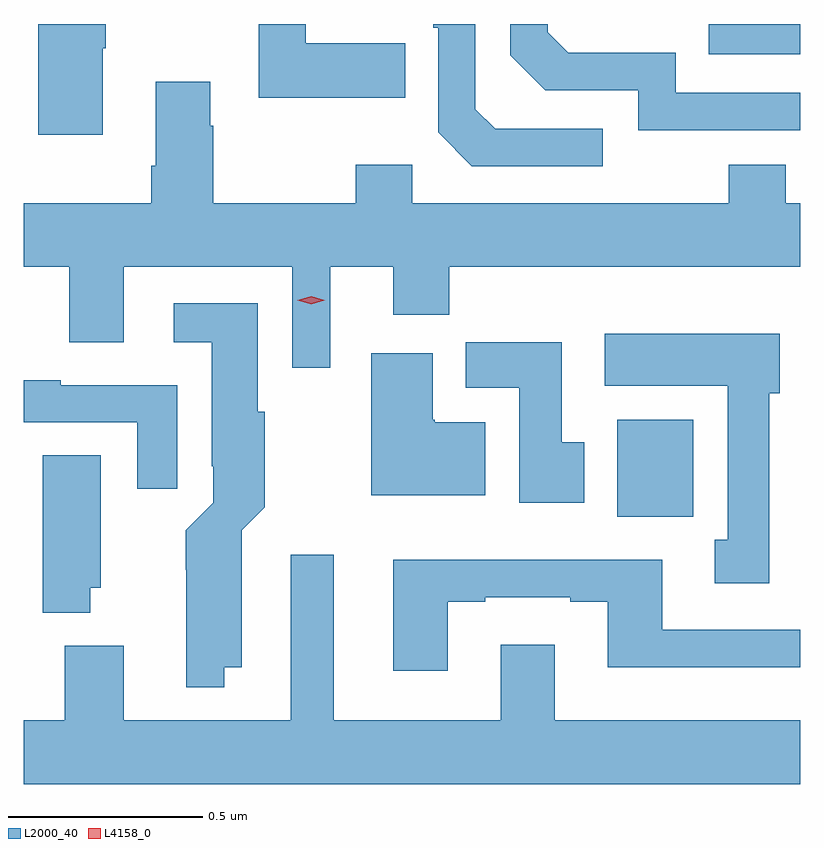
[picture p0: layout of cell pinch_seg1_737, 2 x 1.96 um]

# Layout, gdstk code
import gdstk
lib = gdstk.Library(unit=1e-6, precision=1e-09)
def R(c, l, rs):  # rectangles x0, y0, x1, y1
    for r in rs: c.add(gdstk.rectangle(r[:2], r[2:], *l))
def P(c, l, *ps):  # polygons
    for p in ps: c.add(gdstk.Polygon(p, *l))
L2000_40 = (2000, 40)
L4158_0 = (4158, 0)

pinch_seg1_737 = lib.new_cell('pinch_seg1_737')
R(pinch_seg1_737, L2000_40, [(673.001,520.452,673.197,520.702), (673.237,521.643,673.473,521.721)])
P(pinch_seg1_737, L2000_40, [(672.455,521.671),(672.199,521.671),(672.199,521.721),(672.078,521.721),(672.078,521.531),(672.455,521.531)],
  [(671.677,521.659),(671.685,521.659),(671.685,521.721),(671.51,521.721),(671.51,521.436),(671.677,521.436)],
  [(672.964,521.451),(672.687,521.451),(672.636,521.502),(672.636,521.721),(672.528,521.721),(672.528,521.711),(672.54,521.711),(672.54,521.442),(672.627,521.355),(672.964,521.355)],
  [(673.473,521.544),(673.152,521.544),(673.152,521.647),(672.875,521.647),(672.822,521.7),(672.822,521.721),(672.726,521.721),(672.726,521.64),(672.816,521.55),(673.056,521.55),(673.056,521.448),(673.473,521.448)],
  [(672.262,521.096),(672.425,521.096),(672.425,520.972),(672.569,520.972),(672.569,521.096),(673.473,521.096),(673.473,521.26),(673.435,521.26),(673.435,521.359),(673.288,521.359),(673.288,521.26),(672.474,521.26),(672.474,521.359),(672.328,521.359),(672.328,521.26),(671.961,521.26),(671.961,521.459),(671.953,521.459),(671.953,521.572),(671.813,521.572),(671.813,521.356),(671.801,521.356),(671.801,521.26),(671.473,521.26),(671.473,521.096),(671.591,521.096),(671.591,520.902),(671.731,520.902),(671.731,521.096),(672.165,521.096),(672.165,520.836),(672.262,520.836)],
  [(671.989,520.064),(672.034,520.064),(672.034,520.319),(672.035,520.319),(672.035,520.418),(672.094,520.477),(672.094,520.722),(672.076,520.722),(672.076,521.002),(671.859,521.002),(671.859,520.901),(671.957,520.901),(671.957,520.582),(671.961,520.582),(671.961,520.488),(671.891,520.418),(671.891,520.316),(671.892,520.316),(671.892,520.013),(671.989,520.013)],
  [(673.393,520.77),(673.42,520.77),(673.42,520.924),(672.969,520.924),(672.969,520.79),(673.286,520.79),(673.286,520.393),(673.253,520.393),(673.253,520.281),(673.393,520.281)],
  [(672.916,520.644),(672.859,520.644),(672.859,520.902),(672.611,520.902),(672.611,520.784),(672.749,520.784),(672.749,520.488),(672.916,520.488)],
  [(672.661,520.696),(672.532,520.696),(672.532,520.702),(672.526,520.702),(672.526,520.873),(672.368,520.873),(672.368,520.508),(672.661,520.508)],
  [(671.869,520.791),(671.569,520.791),(671.569,520.804),(671.473,520.804),(671.473,520.695),(671.765,520.695),(671.765,520.524),(671.869,520.524)],
  [(671.644,520.269),(671.671,520.269),(671.671,520.61),(671.522,520.61),(671.522,520.205),(671.644,520.205)],
  [(673.473,519.928),(672.841,519.928),(672.841,520.123),(672.701,520.123),(672.701,519.928),(672.271,519.928),(672.271,520.354),(672.161,520.354),(672.161,519.928),(671.731,519.928),(671.731,520.12),(671.579,520.12),(671.579,519.928),(671.473,519.928),(671.473,519.764),(673.473,519.764)],
  [(672.565,520.233),(672.661,520.233),(672.661,520.245),(672.881,520.245),(672.881,520.233),(672.977,520.233),(672.977,520.064),(673.473,520.064),(673.473,520.161),(673.117,520.161),(673.117,520.342),(672.425,520.342),(672.425,520.056),(672.565,520.056)])
P(pinch_seg1_737, L4158_0, [(672.213,521),(672.177,521.01),(672.177,521.01),(672.177,521.01),(672.213,521.02),(672.248,521.01),(672.248,521.01),(672.248,521.01)])

lib.write_gds('pinch_seg1_737.gds')
